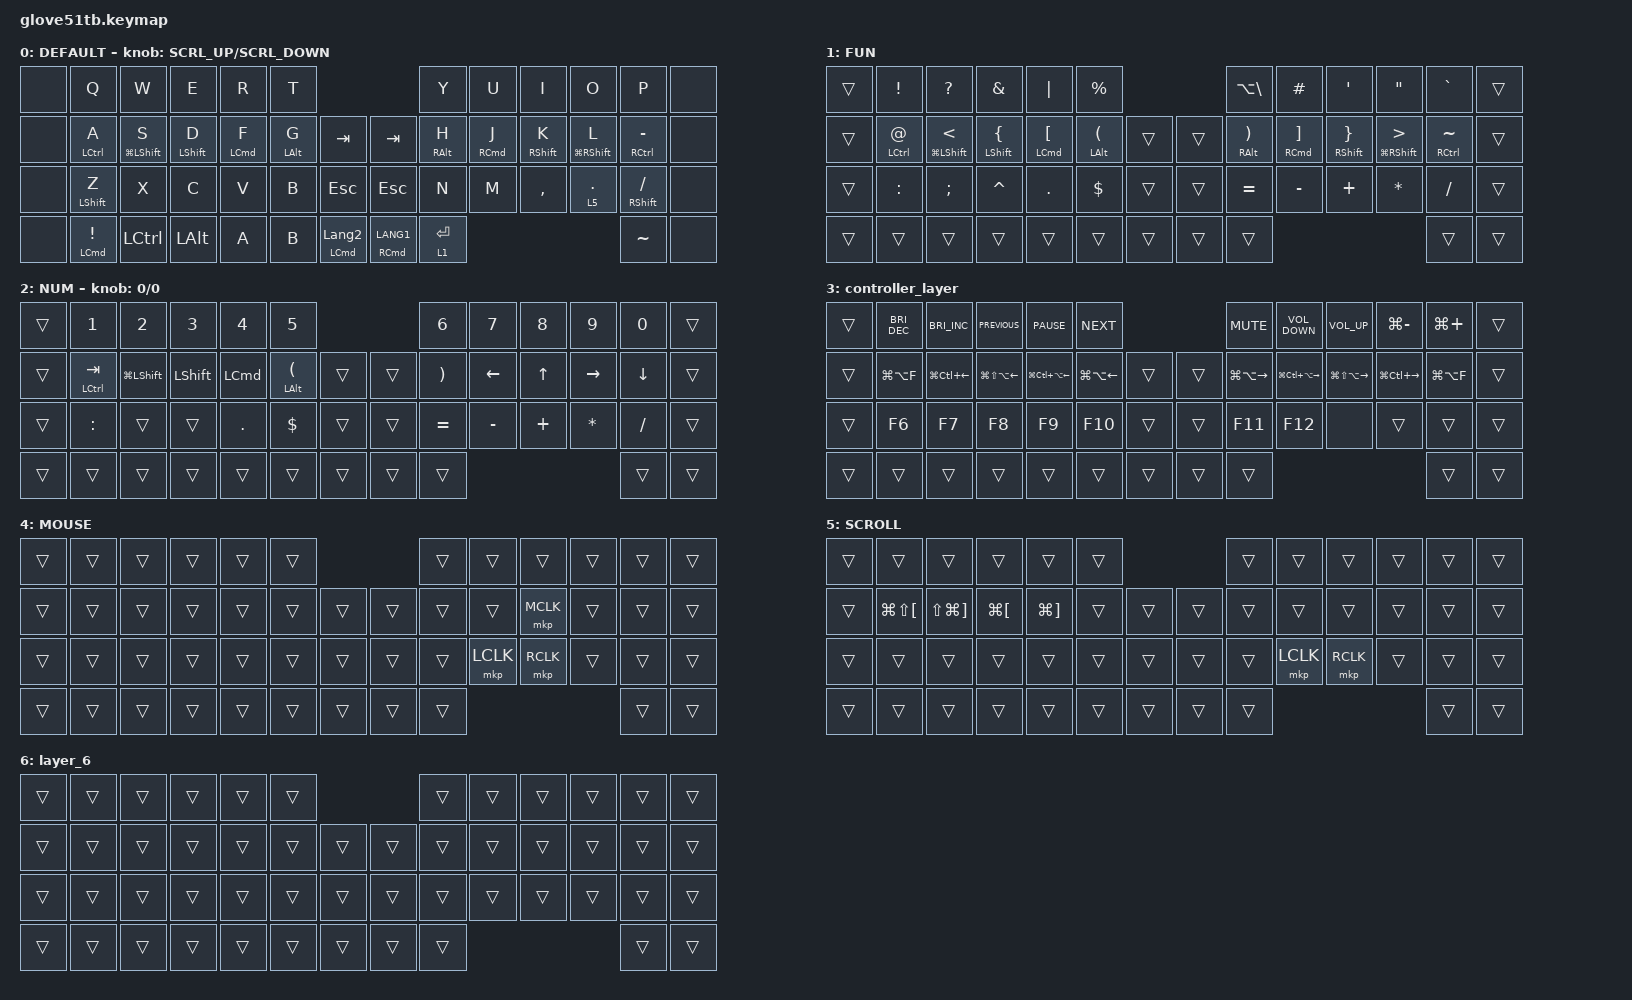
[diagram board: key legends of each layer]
#define ZMK_POINTING_DEFAULT_SCRL_VAL 150

#include <behaviors/rgbled_widget.dtsi>
#include <dt-bindings/zmk/input_transform.h>
#include <input/processors.dtsi>
#include <zephyr/dt-bindings/input/input-event-codes.h>
#include <behaviors.dtsi>
#include <dt-bindings/zmk/keys.h>
#include <dt-bindings/zmk/pointing.h>

// Layer Numbering

#define DEFAULT 0
#define NUM     1
#define SYM     2
#define FUN     3
#define MOUSE   4
#define SCROLL  5

&mmv {
    delay-ms = <20>;
    trigger-period-ms = <5>;
    time-to-max-speed-ms = <100>;
    acceleration-exponent = <2>;
};

&msc {
    delay-ms = <3>;
    trigger-period-ms = <3>;
    time-to-max-speed-ms = <100>;
    acceleration-exponent = <0>;
};

/ {
    conditional_layers {
        compatible = "zmk,conditional-layers";

        dublle {
            if-layers = <1 2>;
            then-layer = <3>;
        };
    };
};

/ {
    input_processors {
        zip_wheel_scaler: zip_wheel_scaler {
            compatible = "zmk,input-processor-scaler";
            #input-processor-cells = <2>;
            type = <INPUT_EV_REL>;
            codes = <INPUT_REL_WHEEL>;
            track-remainders;
        };
    };
};

/ {
    combos {
        compatible = "zmk,combos";

        scroll {
            bindings = <&mo 0>;
            key-positions = <35 36>;
        };
    };

    behaviors {
        sensor_rotate_kp: sensor_rotate_kp {
            compatible = "zmk,behavior-sensor-rotate-var";
            #sensor-binding-cells = <2>;
            bindings = <&kp>, <&kp>;
        };

        mouse_wheel_scroll: mouse_wheel_scroll {
            compatible = "zmk,behavior-sensor-rotate-var";
            #sensor-binding-cells = <2>;
            bindings = <&msc>, <&msc>;

            tap-ms = <20>;
        };

        homerow_mod: homerow_mod {
            compatible = "zmk,behavior-hold-tap";
            label = "HOMEROW_MOD";
            bindings = <&kp>, <&kp>;

            #binding-cells = <2>;
            tapping-term-ms = <280>;
            quick-tap-ms = <150>;
            require-prior-idle-ms = <180>;
            flavor = "tap-preferred";
        };

        cmd_scroll_ht: cmd_scroll_ht {
            compatible = "zmk,behavior-hold-tap";
            label = "CMD_SCROLL_HT";
            bindings = <&cmd_scroll>, <&kp>;

            #binding-cells = <2>;
            tapping-term-ms = <200>;
            flavor = "tap-preferred";
        };
    };

    macros {
        cmd_scroll: cmd_scroll {
            compatible = "zmk,behavior-macro";
            #binding-cells = <0>;
            bindings =
                <&macro_press>,
                <&kp LEFT_COMMAND &mo 5>,
                <&macro_pause_for_release>,
                <&macro_release>,
                <&mo 5 &kp LEFT_COMMAND>;

            label = "CMD_SCROLL";
        };
    };

    keymap {
        compatible = "zmk,keymap";

        default_layer {
            label = "DEFAULT";
            bindings = <
&none  &kp Q                         &kp W                          &kp E                      &kp R                        &kp T                                                                          &kp Y                     &kp U                         &kp I                       &kp O                           &kp P                             &none
&none  &homerow_mod LEFT_CONTROL A   &homerow_mod LG(LEFT_SHIFT) S  &homerow_mod LEFT_SHIFT D  &homerow_mod LEFT_COMMAND F  &homerow_mod LEFT_ALT G  &kp TAB                      &kp TAB                  &homerow_mod RIGHT_ALT H  &homerow_mod RIGHT_COMMAND J  &homerow_mod RIGHT_SHIFT K  &homerow_mod LG(RIGHT_SHIFT) L  &homerow_mod RIGHT_CONTROL MINUS  &none
&none  &homerow_mod LEFT_SHIFT Z     &kp X                          &kp C                      &kp V                        &kp B                    &kp ESC                      &kp ESC                  &kp N                     &kp M                         &kp COMMA                   &lt 5 PERIOD                    &mt RIGHT_SHIFT SLASH             &none
&none  &mt LEFT_COMMAND EXCLAMATION  &kp LEFT_CONTROL               &kp LEFT_ALT               &kp A                        &kp B                    &mt LEFT_COMMAND LANGUAGE_2  &mt RIGHT_COMMAND LANG1  &lt 1 ENTER                                                                                                         &kp TILDE                         &none
            >;

            sensor-bindings = <&mouse_wheel_scroll SCRL_UP SCRL_DOWN>;
        };

        symbal_layer {
            label = "FUN";
            bindings = <
&trans  &kp EXCLAMATION                    &kp QUESTION                           &kp AMPERSAND                       &kp PIPE                                &kp PERCENT                                             &kp LA(BACKSLASH)                         &kp HASH                                  &kp SQT                               &kp DOUBLE_QUOTES                          &kp GRAVE                         &trans
&trans  &homerow_mod LEFT_CONTROL AT_SIGN  &homerow_mod LG(LEFT_SHIFT) LESS_THAN  &homerow_mod LEFT_SHIFT LEFT_BRACE  &homerow_mod LEFT_COMMAND LEFT_BRACKET  &homerow_mod LEFT_ALT LEFT_PARENTHESIS  &trans  &trans  &homerow_mod RIGHT_ALT RIGHT_PARENTHESIS  &homerow_mod RIGHT_COMMAND RIGHT_BRACKET  &homerow_mod RIGHT_SHIFT RIGHT_BRACE  &homerow_mod LG(RIGHT_SHIFT) GREATER_THAN  &homerow_mod RIGHT_CONTROL TILDE  &trans
&trans  &kp COLON                          &kp SEMICOLON                          &kp CARET                           &kp PERIOD                              &kp DOLLAR                              &trans  &trans  &kp EQUAL                                 &kp MINUS                                 &kp PLUS                              &kp ASTERISK                               &kp SLASH                         &trans
&trans  &trans                             &trans                                 &trans                              &trans                                  &trans                                  &trans  &trans  &trans                                                                                                                                                               &trans                            &trans
            >;
        };

        number_layer {
            label = "NUM";
            bindings = <
&trans  &kp NUMBER_1          &kp NUMBER_2        &kp NUMBER_3    &kp NUMBER_4      &kp N5                                                  &kp NUMBER_6           &kp N7     &kp N8        &kp N9        &kp N0     &trans
&trans  &mt LEFT_CONTROL TAB  &kp LG(LEFT_SHIFT)  &kp LEFT_SHIFT  &kp LEFT_COMMAND  &homerow_mod LEFT_ALT LEFT_PARENTHESIS  &trans  &trans  &kp RIGHT_PARENTHESIS  &kp LEFT   &kp UP_ARROW  &kp RIGHT     &kp DOWN   &trans
&trans  &kp COLON             &trans              &trans          &kp PERIOD        &kp DOLLAR                              &trans  &trans  &kp EQUAL              &kp MINUS  &kp PLUS      &kp ASTERISK  &kp SLASH  &trans
&trans  &trans                &trans              &trans          &trans            &trans                                  &trans  &trans  &trans                                                        &trans     &trans
            >;

            sensor-bindings = <&inc_dec_kp 0 0>;
        };

        controller_layer {
            bindings = <
&trans  &kp C_BRIGHTNESS_DEC  &kp C_BRIGHTNESS_INC  &kp C_PREVIOUS        &kp C_PAUSE           &kp C_NEXT                        &kp C_MUTE         &kp C_VOLUME_DOWN      &kp C_VOLUME_UP        &kp LG(MINUS)      &kp LG(PLUS)   &trans
&trans  &kp LG(LA(F))         &kp LG(LC(LEFT))      &kp LG(LS(LA(LEFT)))  &kp LG(LC(LA(LEFT)))  &kp LG(LA(LEFT))  &trans  &trans  &kp LG(LA(RIGHT))  &kp LG(LC(LA(RIGHT)))  &kp LG(LS(LA(RIGHT)))  &kp LG(LC(RIGHT))  &kp LG(LA(F))  &trans
&trans  &kp F6                &kp F7                &kp F8                &kp F9                &kp F10           &trans  &trans  &kp F11            &kp F12                &none                  &trans             &trans         &trans
&trans  &trans                &trans                &trans                &trans                &trans            &trans  &trans  &trans                                                                              &trans         &trans
            >;
        };

        mouse_layer {
            label = "MOUSE";
            bindings = <
&trans  &trans  &trans  &trans  &trans  &trans                  &trans  &trans     &trans     &trans  &trans  &trans
&trans  &trans  &trans  &trans  &trans  &trans  &trans  &trans  &trans  &trans     &mkp MCLK  &trans  &trans  &trans
&trans  &trans  &trans  &trans  &trans  &trans  &trans  &trans  &trans  &mkp LCLK  &mkp RCLK  &trans  &trans  &trans
&trans  &trans  &trans  &trans  &trans  &trans  &trans  &trans  &trans                                &trans  &trans
            >;
        };

        scroll_layer {
            label = "SCROLL";
            bindings = <
&trans  &trans                    &trans                     &trans                &trans                 &trans                  &trans  &trans     &trans     &trans  &trans  &trans
&trans  &kp LG(LS(LEFT_BRACKET))  &kp LS(LG(RIGHT_BRACKET))  &kp LG(LEFT_BRACKET)  &kp LG(RIGHT_BRACKET)  &trans  &trans  &trans  &trans  &trans     &trans     &trans  &trans  &trans
&trans  &trans                    &trans                     &trans                &trans                 &trans  &trans  &trans  &trans  &mkp LCLK  &mkp RCLK  &trans  &trans  &trans
&trans  &trans                    &trans                     &trans                &trans                 &trans  &trans  &trans  &trans                                &trans  &trans
            >;
        };

        layer_6 {
            bindings = <
&trans  &trans  &trans  &trans  &trans  &trans                  &trans  &trans  &trans  &trans  &trans  &trans
&trans  &trans  &trans  &trans  &trans  &trans  &trans  &trans  &trans  &trans  &trans  &trans  &trans  &trans
&trans  &trans  &trans  &trans  &trans  &trans  &trans  &trans  &trans  &trans  &trans  &trans  &trans  &trans
&trans  &trans  &trans  &trans  &trans  &trans  &trans  &trans  &trans                          &trans  &trans
            >;
        };
    };
};
